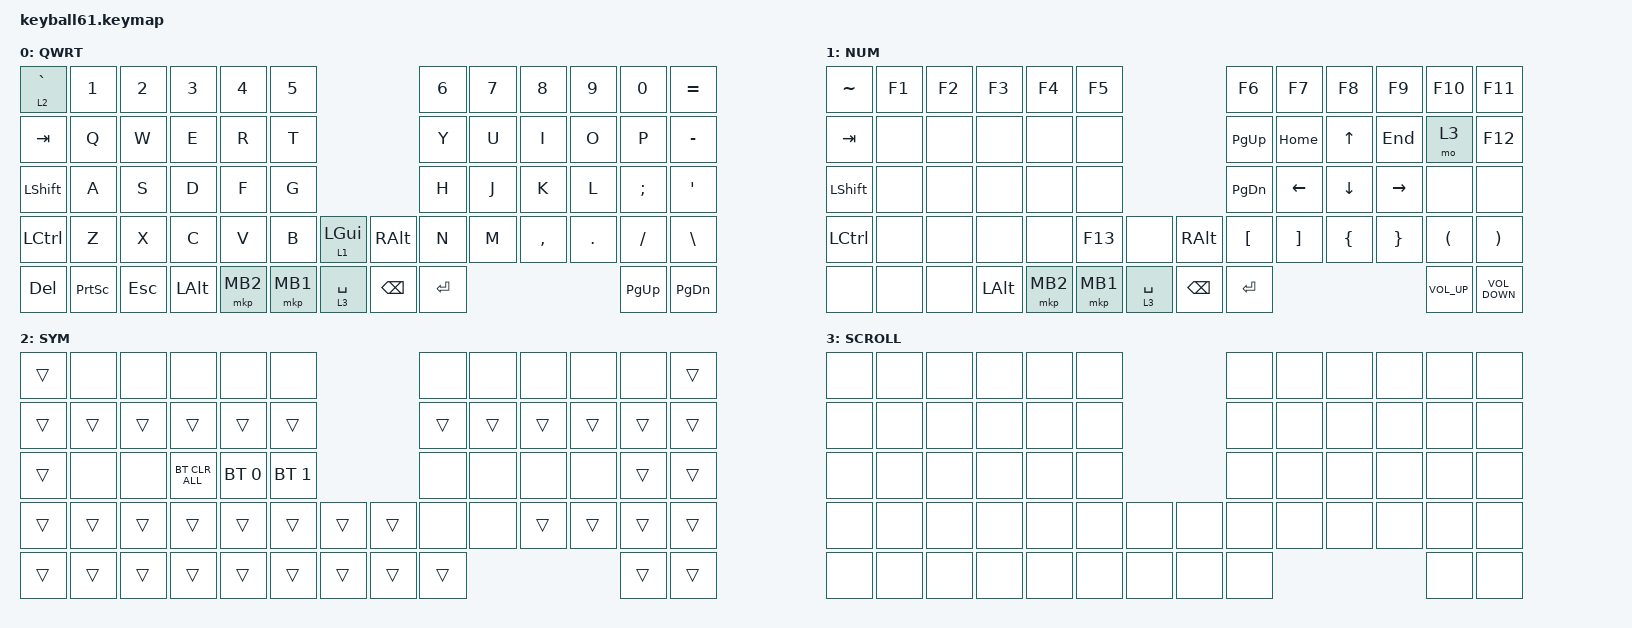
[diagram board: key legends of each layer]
#define DEFAULT 0
#define SYM     1
#define FUN     2
#define MOUSE   3 // Auto-Mouse Layer
#define SCROLL  4 // Motion Scroll Layer
#define SNIPE   5 // Snipe Mode Layer

#include <behaviors/mouse_keys.dtsi>
#include <dt-bindings/zmk/mouse.h>
#include <behaviors.dtsi>
#include <dt-bindings/zmk/bt.h>
#include <dt-bindings/zmk/keys.h>
#include <dt-bindings/zmk/pointing.h>

&lt {
    tapping-term-ms = <240>;
    flavor = "balanced";
    quick-tap-ms = <150>;
};

&mt {
    tapping-term-ms = <200>;
    flavor = "tap-preferred";
    quick-tap-ms = <150>;
};

/ {
    keymap {
        compatible = "zmk,keymap";

        default_layer {
            label = "QWRT";
            bindings = <
&lt 2 GRAVE     &kp N1           &kp N2   &kp N3    &kp N4    &kp N5                                &kp N6     &kp N7  &kp N8     &kp N9   &kp N0       &kp EQUAL
&kp TAB         &kp Q            &kp W    &kp E     &kp R     &kp T                                 &kp Y      &kp U   &kp I      &kp O    &kp P        &kp MINUS
&kp LEFT_SHIFT  &kp A            &kp S    &kp D     &kp F     &kp G                                 &kp H      &kp J   &kp K      &kp L    &kp SEMI     &kp SQT
&kp LCTRL       &kp Z            &kp X    &kp C     &kp V     &kp B     &lt 1 LGUI   &kp RALT       &kp N      &kp M   &kp COMMA  &kp DOT  &kp FSLH     &kp BACKSLASH
&kp DEL         &kp PRINTSCREEN  &kp ESC  &kp LALT  &mkp MB2  &mkp MB1  &lt 3 SPACE  &kp BACKSPACE  &kp ENTER                              &kp PAGE_UP  &kp PAGE_DOWN
            >;
        };

        number_layer {
            bindings = <
&kp TILDE   &kp F1  &kp F2  &kp F3        &kp F4    &kp F5                                &kp F6            &kp F7             &kp F8          &kp F9           &kp F10               &kp F11
&kp TAB     &none   &none   &none         &none     &none                                 &kp PAGE_UP       &kp HOME           &kp UP          &kp END          &mo 3                 &kp F12
&kp LSHIFT  &none   &none   &none         &none     &none                                 &kp PAGE_DOWN     &kp LEFT           &kp DOWN        &kp RIGHT        &none                 &none
&kp LCTRL   &none   &none   &none         &none     &kp F13   &none        &kp RIGHT_ALT  &kp LEFT_BRACKET  &kp RIGHT_BRACKET  &kp LEFT_BRACE  &kp RIGHT_BRACE  &kp LEFT_PARENTHESIS  &kp RIGHT_PARENTHESIS
&none       &none   &none   &kp LEFT_ALT  &mkp MB2  &mkp MB1  &lt 3 SPACE  &kp BACKSPACE  &kp ENTER                                                             &kp C_VOLUME_UP       &kp C_VOLUME_DOWN
            >;

            label = "NUM";
        };

        bt {
            label = "SYM";
            bindings = <
&trans  &none   &none   &none           &none         &none                         &none   &none   &none   &none   &none   &trans
&trans  &trans  &trans  &trans          &trans        &trans                        &trans  &trans  &trans  &trans  &trans  &trans
&trans  &none   &none   &bt BT_CLR_ALL  &bt BT_SEL 0  &bt BT_SEL 1                  &none   &none   &none   &none   &trans  &trans
&trans  &trans  &trans  &trans          &trans        &trans        &trans  &trans  &none   &none   &trans  &trans  &trans  &trans
&trans  &trans  &trans  &trans          &trans        &trans        &trans  &trans  &trans                          &trans  &trans
            >;
        };

        y_scroll_layer {
            label = "SCROLL";
            bindings = <
&none  &none  &none  &none  &none  &none                &none  &none  &none  &none  &none  &none
&none  &none  &none  &none  &none  &none                &none  &none  &none  &none  &none  &none
&none  &none  &none  &none  &none  &none                &none  &none  &none  &none  &none  &none
&none  &none  &none  &none  &none  &none  &none  &none  &none  &none  &none  &none  &none  &none
&none  &none  &none  &none  &none  &none  &none  &none  &none                       &none  &none
            >;
        };
    };
};
